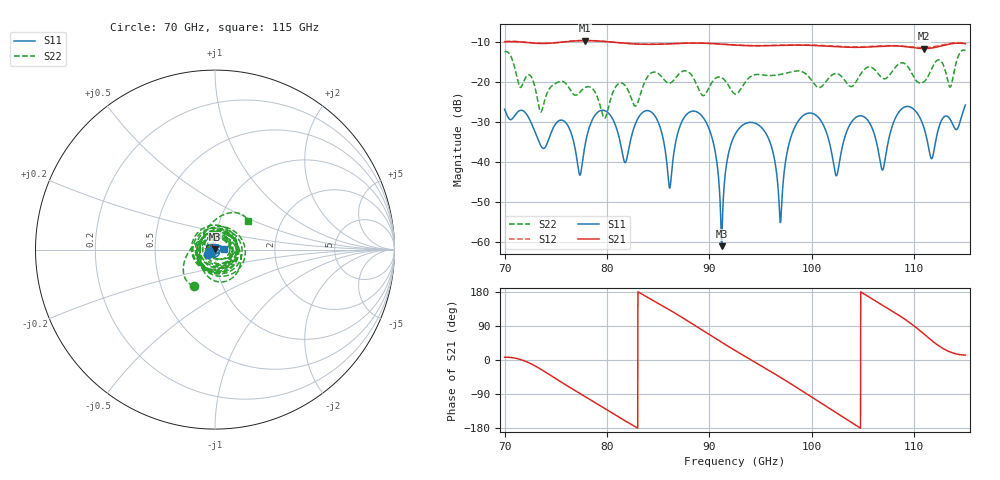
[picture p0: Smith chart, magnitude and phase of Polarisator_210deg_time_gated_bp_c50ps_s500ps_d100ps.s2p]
# Hz S RI R 1.000000
! Metas.Vna.Tools, 2.4.7898.19887
! Metas.Vna.Data, 2.4.7898.19873
! Created: UTC 2021.09.30 14:30:59
! FREQ  re:S1,1  im:S1,1  re:S2,1  im:S2,1  re:S1,2  im:S1,2  re:S2,2  im:S2,2
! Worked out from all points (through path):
!   2251 points, 70 GHz to 115 GHz, reference 1 ohm
!   highest |S21| = -9.77 dB at 77.88 GHz (marker M1); lowest = -11.8 dB at 111 GHz (marker M2)
!   lowest |S11| = -60.9 dB at 91.2 GHz (marker M3), VSWR 1.00, Z = 1 + j0.00176 ohm
!   |S11| at or under -10 dB: start of sweep to end of sweep
!   |S22| runs from -29.1 to -12.1 dB; largest |S21 - S12| = 0.042
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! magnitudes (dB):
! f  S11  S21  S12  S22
! 70 GHz  -26.9  -10.1  -10.0  -12.6
! 73.52 GHz  -35.8  -10.5  -10.5  -27.5
! 75.74 GHz  -29.7  -10.1  -10.1  -20.0
! 77.5 GHz  -41.9  -9.8  -9.7  -22.2
! 77.88 GHz  -35.4  -9.8  -9.7  -21.4
! 79.78 GHz  -27.2  -10.0  -10.0  -29.1
! 81.76 GHz  -40.1  -10.4  -10.4  -20.9
! 85 GHz  -30.0  -10.7  -10.6  -18.0
! 86.12 GHz  -46.5  -10.6  -10.5  -20.4
! 87.42 GHz  -29.4  -10.4  -10.4  -17.4
! 89.42 GHz  -29.0  -10.4  -10.4  -23.5
! 91.2 GHz  -60.9  -10.7  -10.6  -19.0
! 92.5 GHz  -33.2  -10.9  -10.8  -23.0
! 95.44 GHz  -32.5  -11.0  -11.0  -18.4
! 96.94 GHz  -55.0  -10.9  -10.9  -18.2
! 98.02 GHz  -33.3  -10.9  -10.8  -17.5
! 100 GHz  -27.8  -11.0  -10.9  -19.7
! 102.4 GHz  -43.4  -11.3  -11.2  -18.0
! 104.4 GHz  -28.8  -11.4  -11.3  -19.9
! 107.5 GHz  -34.5  -11.1  -11.0  -18.7
! 111 GHz  -31.7  -11.8  -11.5  -20.0
! 115 GHz  -25.8  -10.5  -10.4  -12.3
